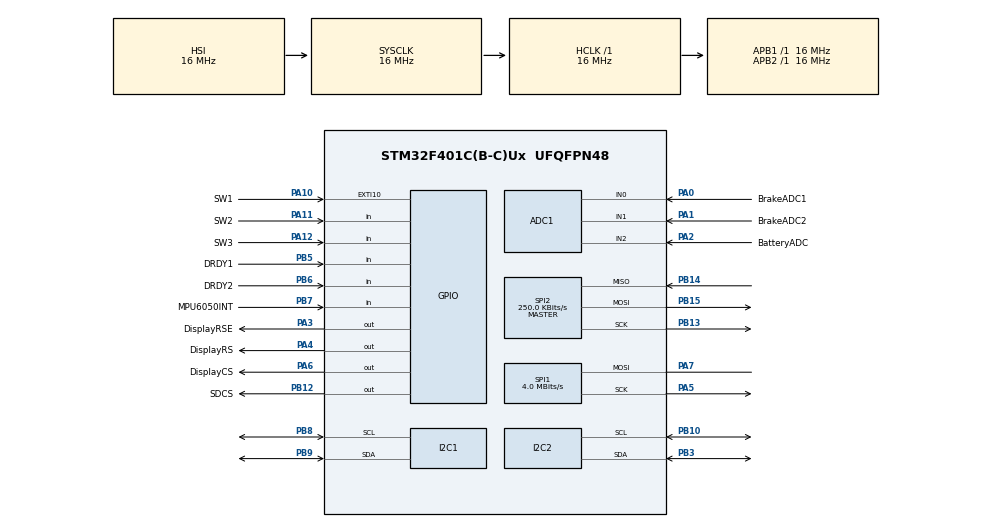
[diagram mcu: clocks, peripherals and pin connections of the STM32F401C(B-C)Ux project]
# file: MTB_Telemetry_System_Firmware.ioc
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ADC1.Channel-0\#ChannelRegularConversion=ADC_CHANNEL_0
ADC1.NbrOfConversion=1
ADC1.NbrOfConversionFlag=1
ADC1.Rank-0\#ChannelRegularConversion=1
ADC1.SamplingTime-0\#ChannelRegularConversion=ADC_SAMPLETIME_3CYCLES
ADC1.master=1
Mcu.Family=STM32F4
Mcu.Name=STM32F401C(B-C)Ux
Mcu.Package=UFQFPN48
NVIC.EXTI15_10_IRQn=true\:0\:0\:false\:false\:true\:true\:true
NVIC.PriorityGroup=NVIC_PRIORITYGROUP_4
NVIC.TIM4_IRQn=true\:1\:0\:true\:false\:true\:true\:true
NVIC.TIM5_IRQn=true\:0\:0\:false\:false\:true\:true\:true
PA0-WKUP.GPIO_Label=BrakeADC1
PA0-WKUP.Signal=ADCx_IN0
PA1.GPIO_Label=BrakeADC2
PA1.Signal=ADCx_IN1
PA10.GPIO_Label=SW1
PA10.Signal=GPXTI10
PA11.GPIO_Label=SW2
PA11.Signal=GPIO_Input
PA12.GPIO_Label=SW3
PA12.Signal=GPIO_Input
PA2.GPIO_Label=BatteryADC
PA2.Signal=ADCx_IN2
PA3.GPIO_Label=DisplayRSE
PA3.Signal=GPIO_Output
PA4.GPIO_Label=DisplayRS
PA4.Signal=GPIO_Output
PA5.Mode=Simplex_Bidirectional_Master
PA5.Signal=SPI1_SCK
PA6.GPIO_Label=DisplayCS
PA6.Signal=GPIO_Output
PA7.Mode=Simplex_Bidirectional_Master
PA7.Signal=SPI1_MOSI
PB10.GPIO_Pu=GPIO_PULLUP
PB10.Mode=I2C
PB10.Signal=I2C2_SCL
PB12.GPIO_Label=SDCS
PB12.Signal=GPIO_Output
PB13.Mode=Full_Duplex_Master
PB13.Signal=SPI2_SCK
PB14.Mode=Full_Duplex_Master
PB14.Signal=SPI2_MISO
PB15.Mode=Full_Duplex_Master
PB15.Signal=SPI2_MOSI
PB3.GPIO_Pu=GPIO_PULLUP
PB3.Mode=I2C
PB3.Signal=I2C2_SDA
PB5.GPIO_Label=DRDY1
PB5.Signal=GPIO_Input
PB6.GPIO_Label=DRDY2
PB6.Signal=GPIO_Input
PB7.GPIO_Label=MPU6050INT
PB7.Signal=GPIO_Input
PB8.GPIO_Pu=GPIO_PULLUP
PB8.Mode=I2C
PB8.Signal=I2C1_SCL
PB9.GPIO_Pu=GPIO_PULLUP
PB9.Mode=I2C
PB9.Signal=I2C1_SDA
PC14-OSC32_IN.Mode=LSE-External-Oscillator
PC14-OSC32_IN.Signal=RCC_OSC32_IN
PC15-OSC32_OUT.Mode=LSE-External-Oscillator
PC15-OSC32_OUT.Signal=RCC_OSC32_OUT
PH0\ -\ OSC_IN.Signal=RCC_OSC_IN
PH1\ -\ OSC_OUT.Signal=RCC_OSC_OUT
ProjectManager.HeapSize=0x200
ProjectManager.StackSize=0x400
ProjectManager.TargetToolchain=STM32CubeIDE
RCC.AHBFreq_Value=16000000
RCC.APB1Freq_Value=16000000
RCC.APB2Freq_Value=16000000
RCC.CortexFreq_Value=16000000
RCC.HSE_VALUE=25000000
RCC.HSI_VALUE=16000000
RCC.RCC_RTC_Clock_Source=RCC_RTCCLKSOURCE_LSE
RCC.RCC_RTC_Clock_SourceVirtual=RCC_RTCCLKSOURCE_LSE
RCC.SYSCLKFreq_VALUE=16000000
RCC.VCOOutputFreq_Value=192000000
RTC.Hours=12
SH.ADCx_IN0.0=ADC1_IN0,IN0
SH.ADCx_IN1.0=ADC1_IN1,IN1
SH.ADCx_IN2.0=ADC1_IN2,IN2
SPI1.BaudRatePrescaler=SPI_BAUDRATEPRESCALER_4
SPI1.CLKPhase=SPI_PHASE_2EDGE
SPI1.CLKPolarity=SPI_POLARITY_HIGH
SPI1.CalculateBaudRate=4.0 MBits/s
SPI1.Direction=SPI_DIRECTION_1LINE
SPI1.Mode=SPI_MODE_MASTER
SPI1.VirtualType=VM_MASTER
SPI2.BaudRatePrescaler=SPI_BAUDRATEPRESCALER_64
SPI2.CalculateBaudRate=250.0 KBits/s
SPI2.Direction=SPI_DIRECTION_2LINES
SPI2.Mode=SPI_MODE_MASTER
SPI2.VirtualType=VM_MASTER
TIM4.AutoReloadPreload=TIM_AUTORELOAD_PRELOAD_ENABLE
TIM4.Period=1600
TIM4.Prescaler=999
TIM5.AutoReloadPreload=TIM_AUTORELOAD_PRELOAD_ENABLE
TIM5.Period=2450
TIM5.Prescaler=65535
VP_FATFS_VS_Generic.Mode=User_defined
VP_RTC_VS_RTC_Activate.Mode=RTC_Enabled
VP_RTC_VS_RTC_Calendar.Mode=RTC_Calendar
VP_TIM4_VS_ClockSourceINT.Mode=Internal
VP_TIM5_VS_ClockSourceINT.Mode=Internal
board=custom

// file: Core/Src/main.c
/* USER CODE BEGIN Header */
/**
  ******************************************************************************
  * @file           : main.c
  * @brief          : Main program body
  ******************************************************************************
  * @attention
  *
  * Copyright (c) 2024 STMicroelectronics.
  * All rights reserved.
  *
  * This software is licensed under terms that can be found in the LICENSE file
  * in the root directory of this software component.
  * If no LICENSE file comes with this software, it is provided AS-IS.
  *
  ******************************************************************************
  */
/* USER CODE END Header */
#include "main.h"
#include "adc.h"
#include "fatfs.h"
#include "i2c.h"
#include "rtc.h"
#include "spi.h"
#include "tim.h"
#include "gpio.h"

/* USER CODE BEGIN Includes */
#include "ST7565.h"
#include "HMC5883L.h"
#include "BrakeSensors.h"
#include "MiscellaneousFunctions.h"
#include <stdio.h>
#include <string.h>
#include "MPU6050.h"
#include "stm32f4xx_hal_rtc.h"
#include "setup_menu.h"
/* USER CODE END Includes */

/* USER CODE BEGIN PV */
uint16_t HMC_x_axis_front;
uint16_t HMC_x_axis_rear;

uint16_t Brake_left;
uint16_t Brake_right;

uint8_t battery_voltage;

float accel_x;
float gyro_x;

RTC_TimeTypeDef time;
RTC_DateTypeDef date;

uint8_t button_pressed = 0;

// Currently used file name
char fileName[50] = "";

// SD CARD
FATFS FatFs;
FIL fil;
BYTE buffer[30];
FRESULT SD_check;
/* USER CODE END PV */

void SystemClock_Config(void);

int main(void)
{

  /* MCU Configuration--------------------------------------------------------*/

  /* Reset of all peripherals, Initializes the Flash interface and the Systick. */
  HAL_Init();

  /* Configure the system clock */
  SystemClock_Config();

  /* Initialize all configured peripherals */
  MX_GPIO_Init();
  MX_ADC1_Init();
  MX_I2C1_Init();
  MX_I2C2_Init();
  MX_RTC_Init();
  MX_SPI1_Init();
  MX_SPI2_Init();
  MX_TIM4_Init();
  MX_FATFS_Init();
  MX_TIM5_Init();
  /* USER CODE BEGIN 2 */

  HAL_NVIC_DisableIRQ(TIM4_IRQn);
  HAL_NVIC_DisableIRQ(TIM5_IRQn);

  ST7565_begin(0x7); // Initialize display
  ST7565_clear(); // Clear the display

  uint8_t MPU_check = MPU6050_initialize(); // Initialize MPU6050

  if (MPU_check == 1)
  {
	  My_Error_Handler(MPU_Error);
  }

  uint8_t HMC_check = HMC5883L_initialize(); // Initialize magnetometers

  if (HMC_check == 1)
  {
	  My_Error_Handler(HMC_Error);
  }

  HAL_TIM_Base_Start_IT(&htim4);
  HAL_TIM_Base_Start_IT(&htim5);

  //SD CARD
  HAL_Delay(2000);

  SD_check = f_mount(&FatFs, "", 1); // open file system
  if(SD_check != FR_OK)
  {
	  My_Error_Handler(SD_Error);
  }
  else
  {
	// Create a new file every time the device turns on

    char str[30] = "";
    char str_temp[30] = "";

    // Get current time
    HAL_RTC_GetTime(&hrtc, &time, RTC_FORMAT_BIN);
    HAL_RTC_GetDate(&hrtc, &date, RTC_FORMAT_BIN);

    sprintf(str, "%02u", time.Hours);
    strcat(str_temp, str);
    sprintf(str, "%02u", time.Minutes);
    strcat(str_temp, str);
    sprintf(str, "%02u", date.Month);
    strcat(str_temp, str);
    sprintf(str, "%02u", date.Date);
    strcat(str_temp, str);
    strcat(str_temp, ".txt");

//    strcpy(fileName, "test.txt");

    strcpy(fileName, str_temp);

    f_open(&fil, fileName, FA_WRITE | FA_CREATE_NEW | FA_OPEN_ALWAYS | FA_OPEN_APPEND); // open for write and append only
  }

  HAL_NVIC_EnableIRQ(TIM4_IRQn);
  HAL_NVIC_EnableIRQ(TIM5_IRQn);

  /* USER CODE END 2 */

  /* Infinite loop */
  /* USER CODE BEGIN WHILE */
  while (1)
  {
	  if (button_pressed == 1)
	  {
		  // Disable button interrupt so that it does not interfere with our menu
		  HAL_NVIC_DisableIRQ(EXTI15_10_IRQn);

		  // Save the file
		  f_close(&fil);

		  // Go into the menu display function in file setup_menu.c
		  enterMenu();

		  HAL_Delay(200);
		  __HAL_GPIO_EXTI_CLEAR_IT(SW1_Pin); // clear interrupts
		  button_pressed = 0;

		  HAL_NVIC_EnableIRQ(EXTI15_10_IRQn);
	  }
	  else
	  {
	  	  //HAL_Delay(100);
		  ST7565_clear(); // clear the display

		  char str[10] = "";
		  char str_temp[20] = "";

		  // Brake lever bar graph
		  Brake_left = (uint16_t)(Brake_left / 2.3);
		  Brake_right = (uint16_t)(Brake_right / 2.3);
		  ST7565_fillrect(0, 0, Brake_left, 10, BLACK);
		  ST7565_fillrect((128-Brake_right), 0, Brake_right, 10, BLACK);
		  ST7565_drawstring(50, 0, "BRAKE");

		  // Suspension percent
		  ST7565_drawstring(48, 2, "TRAVEL");
		  uint8_t suspension_front_1 = HMC_x_axis_front % 10;
		  uint8_t suspension_front_10 = HMC_x_axis_front / 10;
		  uint8_t suspension_rear_1 = HMC_x_axis_rear % 10;
		  uint8_t suspension_rear_10 = HMC_x_axis_rear / 10;
		  uint8_t buffer[22];

		  ST7565_get_big_font_bmp(suspension_front_10, buffer);
		  ST7565_drawbitmap(10, 15, buffer, 11, 16, BLACK);
		  ST7565_get_big_font_bmp(suspension_front_1, buffer);
		  ST7565_drawbitmap(25, 15, buffer, 11, 16, BLACK);

		  ST7565_get_big_font_bmp(suspension_rear_10, buffer);
		  ST7565_drawbitmap(90, 15, buffer, 11, 16, BLACK);
		  ST7565_get_big_font_bmp(suspension_rear_1, buffer);
		  ST7565_drawbitmap(105, 15, buffer, 11, 16, BLACK);

		  // Bar graph for suspension
		  //HMC_x_axis_front = (uint16_t)(HMC_x_axis_front / 2.3);
		  //HMC_x_axis_rear = (uint16_t)(HMC_x_axis_rear / 2.3);
		  //ST7565_fillrect(0, 35, HMC_x_axis_front, 10, BLACK);
		  //ST7565_fillrect((128-HMC_x_axis_rear), 35, HMC_x_axis_rear, 10, BLACK);

		  // Current time
		  ST7565_drawstring(10, 6, "TIME");
		  sprintf(str, "%02u", time.Hours);
		  strcat(str_temp, str);
		  strcpy(str, ":");
		  strcat(str_temp, str);
		  sprintf(str, "%02u", time.Minutes);
		  strcat(str_temp, str);
		  strcpy(str, ":");
		  strcat(str_temp, str);
		  sprintf(str, "%02u", time.Seconds);
		  strcat(str_temp, str);
		  ST7565_drawstring(0, 7, str_temp);

		  // Battery %
		  ST7565_drawstring(95, 6, "BATT");
		  sprintf(str, "%u", battery_voltage);
		  strcpy(str_temp, "%");
		  strcat(str, str_temp);
		  ST7565_drawstring(105, 7, str);

		  // Send data to display
		  ST7565_display();
	  }
    /* USER CODE END WHILE */

  }
}

void SystemClock_Config(void)
{
  RCC_OscInitTypeDef RCC_OscInitStruct = {0};
  RCC_ClkInitTypeDef RCC_ClkInitStruct = {0};

  /** Configure the main internal regulator output voltage
  */
  __HAL_RCC_PWR_CLK_ENABLE();
  __HAL_PWR_VOLTAGESCALING_CONFIG(PWR_REGULATOR_VOLTAGE_SCALE2);
  /** Initializes the RCC Oscillators according to the specified parameters
  * in the RCC_OscInitTypeDef structure.
  */
  RCC_OscInitStruct.OscillatorType = RCC_OSCILLATORTYPE_HSI|RCC_OSCILLATORTYPE_LSE;
  RCC_OscInitStruct.LSEState = RCC_LSE_ON;
  RCC_OscInitStruct.HSIState = RCC_HSI_ON;
  RCC_OscInitStruct.HSICalibrationValue = RCC_HSICALIBRATION_DEFAULT;
  RCC_OscInitStruct.PLL.PLLState = RCC_PLL_NONE;
  if (HAL_RCC_OscConfig(&RCC_OscInitStruct) != HAL_OK)
  {
    Error_Handler();
  }
  /** Initializes the CPU, AHB and APB buses clocks
  */
  RCC_ClkInitStruct.ClockType = RCC_CLOCKTYPE_HCLK|RCC_CLOCKTYPE_SYSCLK
                              |RCC_CLOCKTYPE_PCLK1|RCC_CLOCKTYPE_PCLK2;
  RCC_ClkInitStruct.SYSCLKSource = RCC_SYSCLKSOURCE_HSI;
  RCC_ClkInitStruct.AHBCLKDivider = RCC_SYSCLK_DIV1;
  RCC_ClkInitStruct.APB1CLKDivider = RCC_HCLK_DIV1;
  RCC_ClkInitStruct.APB2CLKDivider = RCC_HCLK_DIV1;

  if (HAL_RCC_ClockConfig(&RCC_ClkInitStruct, FLASH_LATENCY_0) != HAL_OK)
  {
    Error_Handler();
  }
}

/* USER CODE BEGIN 4 */

// Timer interrupt
// On every timer interrupt read the current sensor states and write to SD card
void HAL_TIM_PeriodElapsedCallback(TIM_HandleTypeDef *htim)
{
  // Check which version of the timer triggered this callback
  if (htim == &htim4)
  {
	  // Read magnetometer data
	  HMC_x_axis_front = HMC5883L_get_X(1);
	  HMC_x_axis_rear = HMC5883L_get_X(0);

	  // Read brake sensor ADC
	  Brake_left = Brake_Sensor_Read(SENSOR_LEFT);
	  Brake_right = Brake_Sensor_Read(SENSOR_RIGHT);

	  // Read battery voltage
	  battery_voltage = Read_Battery_Voltage();

	  // Read accelerometer and gyroscpe
	  //float accel_x = MPU6050_accel_read(Xaxis);
	  //float gyro_x = MPU6050_gyro_read(Zaxis);

	  // Get current time
	  HAL_RTC_GetTime(&hrtc, &time, RTC_FORMAT_BIN);
	  HAL_RTC_GetDate(&hrtc, &date, RTC_FORMAT_BIN);

	  // WRITE TO SD CARD

	  // Copy all sensor data to string
	  char str_temp[20] = "";
	  char str[20] = "";
	  memset(str, '\0', sizeof(str));
	  memset(str_temp, '\0', sizeof(str_temp));

	  // time
	  sprintf(str_temp, "%02u", time.Hours);
	  strcat(str, str_temp);
	  sprintf(str_temp, "%02u", time.Minutes);
	  strcat(str, str_temp);
	  sprintf(str_temp, "%02u", time.Seconds);
	  strcat(str, str_temp);
	  strcat(str, ";");

	  // suspension
	  sprintf(str_temp, "%02u", HMC_x_axis_front);
	  strcat(str, str_temp);
	  strcat(str, ";");
	  sprintf(str_temp, "%02u", HMC_x_axis_rear);
	  strcat(str, str_temp);
	  strcat(str, ";");

	  // brakes
	  sprintf(str_temp, "%02u", Brake_left);
	  strcat(str, str_temp);
	  strcat(str, ";");
	  sprintf(str_temp, "%02u", Brake_right);
	  strcat(str, str_temp);
	  strcat(str, "\n");

	  // Write string onto SD
	  strncpy((char*)buffer, str, strlen(str));
	  UINT bytesWrote;
	  //f_open(&fil, "results.txt", FA_WRITE | FA_OPEN_EXISTING | FA_OPEN_ALWAYS | FA_OPEN_APPEND); // open for write and append only
	  f_write(&fil, buffer, strlen(str), &bytesWrote); // Write to file
	  //f_close(&fil); // Close the file
  }
  else if (htim == &htim5)
  {
	  // Save the file every few seconds (TIM5)
	  f_close(&fil);

	  // Reopen to continue writing data
	  f_open(&fil, fileName, FA_WRITE | FA_OPEN_EXISTING | FA_OPEN_ALWAYS | FA_OPEN_APPEND);
  }
}

// Button interrupt
// Disables all interrupts, stops main loop, shows basic menu
void HAL_GPIO_EXTI_Callback(uint16_t GPIO_Pin)
{
	// Check the interrupt source
    if(GPIO_Pin == SW1_Pin)
    {
    	button_pressed = 1;
    }
}

/* USER CODE END 4 */

void Error_Handler(void)
{
  __disable_irq();
  while (1)
  {
  }
}
